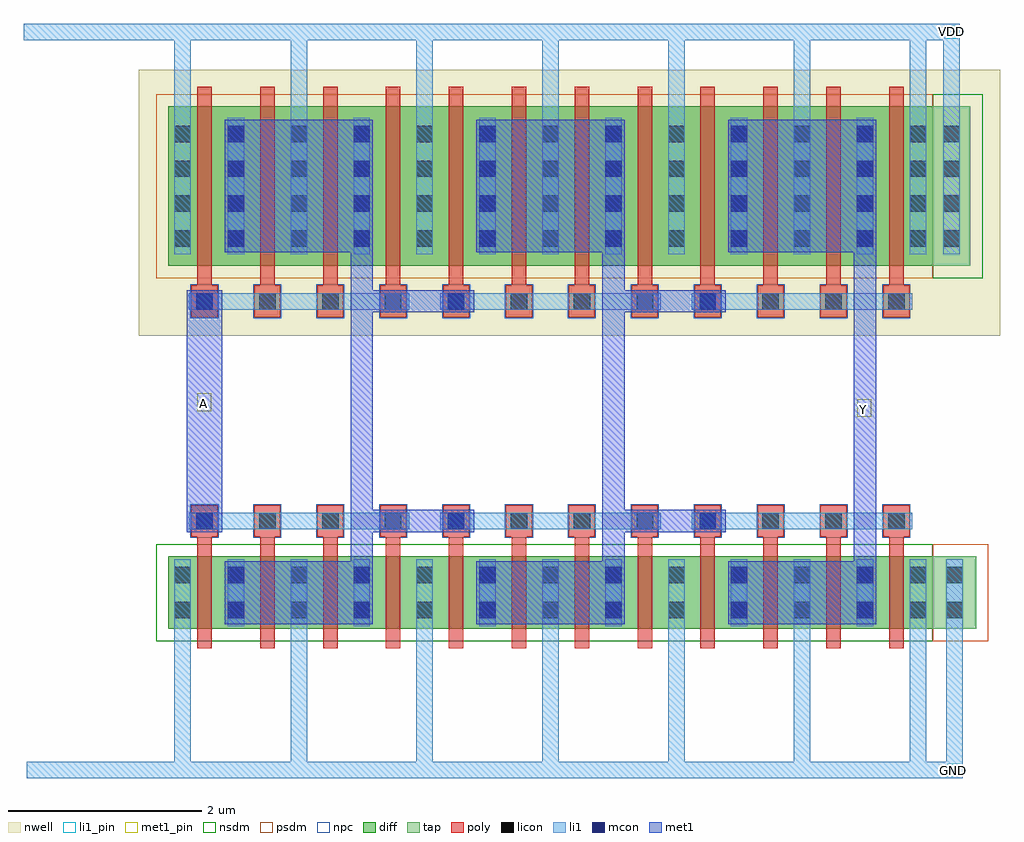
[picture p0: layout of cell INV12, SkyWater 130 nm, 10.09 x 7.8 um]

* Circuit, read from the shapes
.subckt INV12 A GND VDD Y
XM1 n1 A GND GND sky130_fd_pr__nfet_01v8 w=0.75 l=0.15 m=4
XM2 n2 n1 GND GND sky130_fd_pr__nfet_01v8 w=0.75 l=0.15 m=4
XM3 Y n2 GND GND sky130_fd_pr__nfet_01v8 w=0.75 l=0.15 m=4
XM4 n1 A VDD VDD sky130_fd_pr__pfet_01v8 w=1.65 l=0.15 m=4
XM5 n2 n1 VDD VDD sky130_fd_pr__pfet_01v8 w=1.65 l=0.15 m=4
XM6 Y n2 VDD VDD sky130_fd_pr__pfet_01v8 w=1.65 l=0.15 m=4
.ends

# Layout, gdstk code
import gdstk
lib = gdstk.Library(unit=1e-6, precision=1e-09)
def R(c, l, rs):  # rectangles x0, y0, x1, y1
    for r in rs: c.add(gdstk.rectangle(r[:2], r[2:], *l))
def A(c, l, x, y, w, h, nx, ny, dx, dy):  # array of equal rectangles
    R(c, l, [(x+i*dx, y+j*dy, x+i*dx+w, y+j*dy+h) for i in range(nx) for j in range(ny)])
nwell = (64, 20)
diff = (65, 20)
tap = (65, 44)
poly = (66, 20)
licon = (66, 44)
li1_pin = (67, 16)
li1 = (67, 20)
mcon = (67, 44)
met1_pin = (68, 16)
met1 = (68, 20)
nsdm = (93, 44)
psdm = (94, 20)
npc = (95, 20)

inv12 = lib.new_cell('INV12')
R(inv12, nwell, [(1.1,3.545,10,6.295)])
R(inv12, diff, [(1.405,0.515,9.305,1.265), (1.405,4.265,9.305,5.915)])
R(inv12, tap, [(9.305,0.515,9.755,1.265), (9.305,4.265,9.695,5.915)])
A(inv12, poly, 1.705, 0.315, 0.15, 1.15, 12, 1, 0.65, 0)
A(inv12, poly, 1.645, 1.465, 0.27, 0.33, 12, 2, 0.65, 2.27)
A(inv12, poly, 1.705, 4.065, 0.15, 2.05, 12, 1, 0.65, 0)
A(inv12, licon, 2.02, 0.625, 0.17, 0.17, 11, 2, 0.65, 0.36)
A(inv12, licon, 1.695, 1.545, 0.17, 0.17, 12, 2, 0.65, 2.27)
A(inv12, licon, 1.47, 4.465, 0.17, 0.17, 1, 4, 0, 0.36)
A(inv12, licon, 2.02, 4.465, 0.17, 0.17, 11, 4, 0.65, 0.36)
A(inv12, licon, 9.07, 4.465, 0.17, 0.17, 1, 4, 0, 0.36)
A(inv12, licon, 9.415, 4.465, 0.17, 0.17, 1, 4, 0, 0.36)
R(inv12, licon, [(1.47,0.625,1.64,0.795), (9.07,0.625,9.24,0.795), (9.445,0.625,9.615,0.795), (1.47,0.985,1.64,1.155), (9.07,0.985,9.24,1.155), (9.445,0.985,9.615,1.155)])
R(inv12, li1_pin, [(9.455,-1.015,9.595,-0.88), (9.425,6.615,9.565,6.755)])
A(inv12, li1, 2.67, -1.03, 0.17, 1.575, 5, 1, 1.3, 0)
A(inv12, li1, 2.02, 0.545, 0.17, 0.69, 11, 1, 0.65, 0)
A(inv12, li1, 1.615, 1.545, 2.28, 0.17, 3, 2, 2.6, 2.27)
A(inv12, li1, 1.615, 1.545, 0.33, 0.17, 12, 2, 0.65, 2.27)
A(inv12, li1, 2.02, 4.385, 0.17, 1.41, 11, 1, 0.65, 0)
A(inv12, li1, 2.67, 5.795, 0.17, 0.975, 5, 1, 1.3, 0)
R(inv12, li1, [(-0.055,-1.03,9.615,-0.86), (1.47,-1.03,1.64,0.545), (9.07,-1.03,9.24,0.545), (9.445,-1.03,9.615,0.545), (1.47,0.545,1.64,1.235), (9.07,0.545,9.24,1.235), (9.445,0.545,9.615,1.235), (1.47,4.385,1.64,5.795), (9.07,4.385,9.24,5.795), (9.415,4.385,9.585,5.795), (1.47,5.795,1.64,6.77), (9.07,5.795,9.24,6.77), (9.415,5.795,9.585,6.77), (-0.085,6.6,9.585,6.77)])
A(inv12, mcon, 2.02, 0.625, 0.17, 0.17, 6, 2, 1.3, 0.36)
A(inv12, mcon, 1.695, 1.545, 0.17, 0.17, 3, 2, 2.6, 2.27)
A(inv12, mcon, 2.02, 4.465, 0.17, 0.17, 6, 4, 1.3, 0.36)
R(inv12, met1_pin, [(8.525,2.705,8.67,2.89), (1.705,2.765,1.85,2.95)])
A(inv12, met1, 1.99, 0.565, 1.53, 0.65, 3, 1, 2.6, 0)
A(inv12, met1, 1.99, 0.565, 0.23, 0.65, 6, 1, 1.3, 0)
A(inv12, met1, 3.29, 1.215, 0.23, 3.19, 3, 1, 2.6, 0)
A(inv12, met1, 1.597, 1.515, 0.366, 0.23, 3, 2, 2.6, 2.27)
A(inv12, met1, 1.99, 4.405, 0.23, 1.37, 6, 1, 1.3, 0)
A(inv12, met1, 1.99, 4.405, 1.53, 1.37, 3, 1, 2.6, 0)
R(inv12, met1, [(1.595,1.515,1.965,4.015), (3.29,1.515,4.565,1.745), (5.89,1.515,7.165,1.745), (3.29,3.785,4.565,4.015), (5.89,3.785,7.165,4.015)])
R(inv12, nsdm, [(1.28,0.39,9.305,1.39), (9.305,4.14,9.82,6.04)])
R(inv12, psdm, [(9.305,0.39,9.88,1.39), (1.28,4.14,9.305,6.04)])
A(inv12, npc, 1.635, 1.455, 0.29, 0.35, 12, 2, 0.65, 2.27)
inv12.add(gdstk.Label('GND', (9.515,-0.95), layer=67, texttype=5))
inv12.add(gdstk.Label('VDD', (9.495,6.69), layer=67, texttype=5))
inv12.add(gdstk.Label('A', (1.77,2.845), layer=68, texttype=5))
inv12.add(gdstk.Label('Y', (8.59,2.785), layer=68, texttype=5))

lib.write_gds('INV12.gds')
